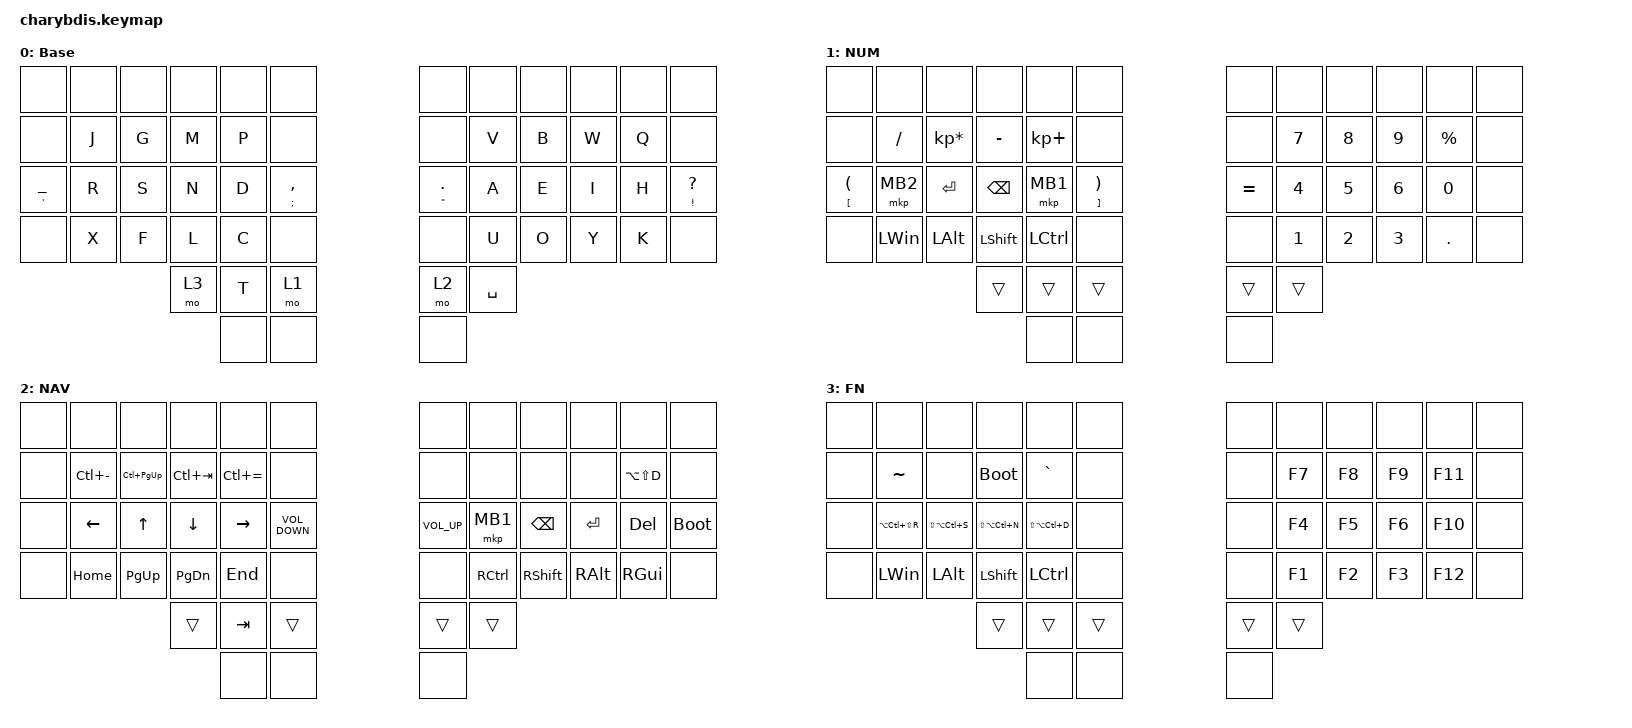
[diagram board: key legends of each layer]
#include <dt-bindings/zmk/mouse.h>
#include <behaviors.dtsi>
#include <dt-bindings/zmk/keys.h>

&lt {
    tapping-term-ms = <200>;
    flavor = "balanced";
    quick-tap-ms = <150>;
};

&mt { flavor = "balanced"; };

/ {
    combos {
        compatible = "zmk,combos";

        btLoader {
            bindings = <&bootloader>;
            key-positions = <13 22>;
            timeout-ms = <30>;
            layers = <2>;
        };

        z {
            bindings = <&kp Z>;
            key-positions = <21 22>;
            layers = <0>;
        };

        alt-tab {
            bindings = <&kp LC(LA(TAB))>;
            key-positions = <31 32 33>;
        };

        esc {
            bindings = <&mt LA(F4) ESCAPE>;
            key-positions = <27 28 26>;
        };

        meh-e {
            bindings = <&kp LS(LA(LC(E)))>;
            key-positions = <32 31 28>;
        };

        meh-a {
            bindings = <&kp LA(LS(LC(A)))>;
            key-positions = <27 31 28>;
        };

        meh-h {
            bindings = <&kp LS(LA(LC(H)))>;
            key-positions = <43 44 45>;
        };

        alt-tab2 {
            bindings = <&kp LA(TAB)>;
            key-positions = <40 39 38>;
        };
    };

    keymap {
        compatible = "zmk,keymap";

        Base {
            bindings = <
&none               &none  &none  &none  &none  &none                  &none                     &none      &none  &none  &none  &none
&none               &kp J  &kp G  &kp M  &kp P  &none                  &none                     &kp V      &kp B  &kp W  &kp Q  &none
&mt SQT UNDERSCORE  &kp R  &kp S  &kp N  &kp D  &mt SEMICOLON COMMA    &mt DOUBLE_QUOTES PERIOD  &kp A      &kp E  &kp I  &kp H  &mt EXCLAMATION QUESTION
&none               &kp X  &kp F  &kp L  &kp C  &none                  &none                     &kp U      &kp O  &kp Y  &kp K  &none
                                  &mo 3  &kp T  &mo 1                  &mo 2                     &kp SPACE
                                         &none  &none                  &none
            >;

            trackball-bindings = <&tmv_coarse>;
        };

        NUM {
            bindings = <
&none                              &none      &none            &none          &none        &none                                  &none      &none         &none         &none         &none         &none
&none                              &kp SLASH  &kp KP_MULTIPLY  &kp MINUS      &kp KP_PLUS  &none                                  &none      &kp NUMBER_7  &kp NUMBER_8  &kp NUMBER_9  &kp PERCENT   &none
&mt LEFT_BRACKET LEFT_PARENTHESIS  &mkp MB2   &kp ENTER        &kp BACKSPACE  &mkp MB1     &mt RIGHT_BRACKET RIGHT_PARENTHESIS    &kp EQUAL  &kp NUMBER_4  &kp N5        &kp NUMBER_6  &kp NUMBER_0  &none
&none                              &kp LWIN   &kp LEFT_ALT     &kp LSHIFT     &kp LCTRL    &none                                  &none      &kp NUMBER_1  &kp NUMBER_2  &kp NUMBER_3  &kp PERIOD    &none
                                                               &trans         &trans       &trans                                 &trans     &trans
                                                                              &none        &none                                  &none
            >;

            //trackball-bindings = <&tmv_fine>;//精准指针

            trackball-bindings = <&tmv_coarse>;
        };

        NAV {
            bindings = <
&none  &none           &none          &none           &none            &none                &none            &none      &none            &none          &none          &none
&none  &kp LC(MINUS)   &kp LC(PG_UP)  &kp LC(TAB)     &kp LC(EQUAL)    &none                &none            &none      &none            &none          &kp LA(LS(D))  &none
&none  &kp LEFT_ARROW  &kp UP_ARROW   &kp DOWN_ARROW  &kp RIGHT_ARROW  &kp C_VOLUME_DOWN    &kp C_VOLUME_UP  &mkp MB1   &kp BACKSPACE    &kp ENTER      &kp DELETE     &bootloader
&none  &kp HOME        &kp PAGE_UP    &kp PAGE_DOWN   &kp END          &none                &none            &kp RCTRL  &kp RIGHT_SHIFT  &kp RIGHT_ALT  &kp RIGHT_GUI  &none
                                      &trans          &kp TAB          &trans               &trans           &trans
                                                      &none            &none                &none
            >;
        };

        FN {
            bindings = <
&none  &none              &none              &none              &none              &none     &none   &none   &none   &none   &none    &none
&none  &kp TILDE          &none              &bootloader        &kp GRAVE          &none     &none   &kp F7  &kp F8  &kp F9  &kp F11  &none
&none  &kp LA(LC(LS(R)))  &kp LS(LA(LC(S)))  &kp LS(LA(LC(N)))  &kp LS(LA(LC(D)))  &none     &none   &kp F4  &kp F5  &kp F6  &kp F10  &none
&none  &kp LWIN           &kp LEFT_ALT       &kp LSHIFT         &kp LCTRL          &none     &none   &kp F1  &kp F2  &kp F3  &kp F12  &none
                                             &trans             &trans             &trans    &trans  &trans
                                                                &none              &none     &none
            >;
        };
    };
};
